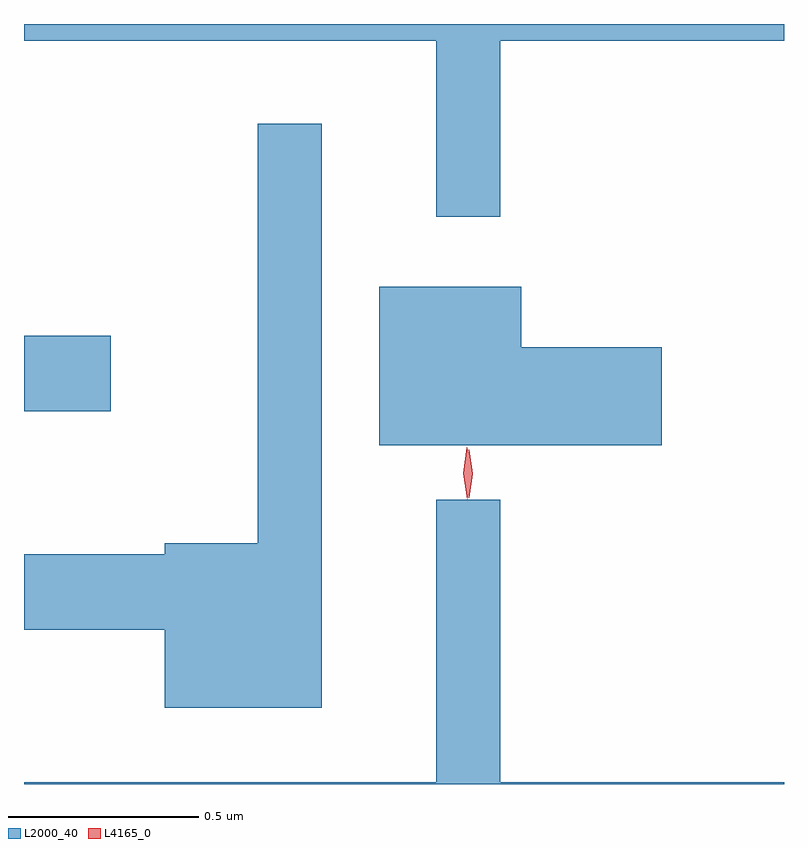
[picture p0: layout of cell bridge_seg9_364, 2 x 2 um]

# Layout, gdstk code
import gdstk
lib = gdstk.Library(unit=1e-6, precision=1e-09)
def R(c, l, rs):  # rectangles x0, y0, x1, y1
    for r in rs: c.add(gdstk.rectangle(r[:2], r[2:], *l))
def P(c, l, *ps):  # polygons
    for p in ps: c.add(gdstk.Polygon(p, *l))
L2000_40 = (2000, 40)
L4165_0 = (4165, 0)

bridge_seg9_364 = lib.new_cell('bridge_seg9_364')
R(bridge_seg9_364, L2000_40, [(728.116,1999.721,728.344,1999.919)])
P(bridge_seg9_364, L2000_40, [(728.116,2000.696),(729.201,2000.696),(729.201,2000.233),(729.369,2000.233),(729.369,2000.696),(730.116,2000.696),(730.116,2000.74),(728.116,2000.74)],
  [(728.899,2000.478),(728.731,2000.478),(728.731,1999.374),(728.486,1999.374),(728.486,1999.344),(728.116,1999.344),(728.116,1999.146),(728.486,1999.146),(728.486,1998.941),(728.899,1998.941)],
  [(729.794,1999.889),(729.424,1999.889),(729.424,2000.049),(729.051,2000.049),(729.051,1999.631),(729.794,1999.631)],
  [(730.116,1998.744),(729.369,1998.744),(729.369,1999.488),(729.201,1999.488),(729.201,1998.744),(728.116,1998.744),(728.116,1998.74),(730.116,1998.74)])
P(bridge_seg9_364, L4165_0, [(729.287,1999.493),(729.287,1999.493),(729.278,1999.556),(729.287,1999.619),(729.287,1999.62),(729.288,1999.619),(729.297,1999.556),(729.288,1999.493)],
  [(729.282,1999.49),(729.282,1999.49),(729.272,1999.558),(729.281,1999.625),(729.281,1999.626),(729.282,1999.625),(729.292,1999.558),(729.283,1999.49)])

lib.write_gds('bridge_seg9_364.gds')
